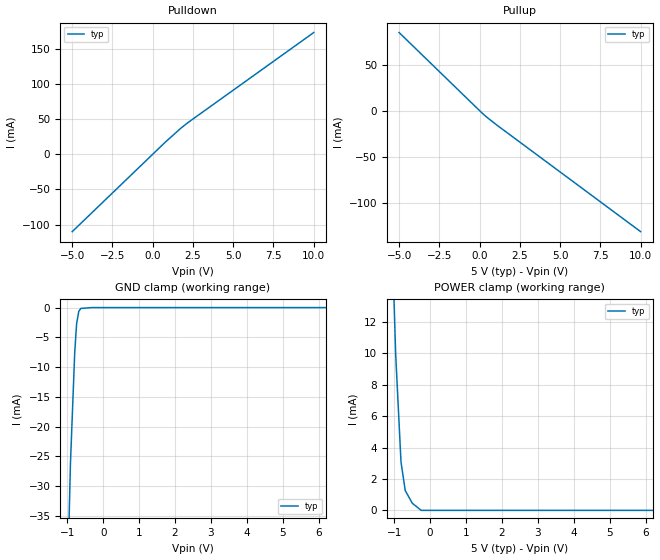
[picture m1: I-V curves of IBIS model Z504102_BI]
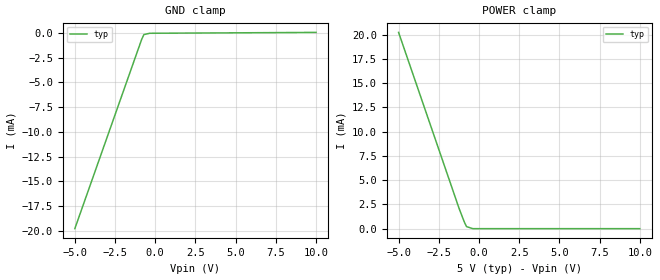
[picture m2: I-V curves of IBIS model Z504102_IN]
| YOU ARE ONLY AUTHORIZED TO USE THIS SOFTWARE
| ACCORDING TO LICENSOR'S LICENSE RESTRICTIONS.
[IBIS Ver] 3.1
[File Name] mc54hc4066j.ibs
[File Rev] 2.0
[Source] Measured and created by ICX Technology
[Date] Friday 7/14/00 9:08:07 AM
[Copyright]
| (C) COPYRIGHT 1993-2000
| MENTOR GRAPHICS CORPORATION
| ICX STANDARD LIBRARY, ICX PROJECT MODELING,
| ICX CUSTOM MODELING, ICX VENDOR MODEL
| ALL RIGHTS RESERVED.
| THE FOLLOWING ARE TRADEMARKS OR SERVICE MARKS OF
| MENTOR GRAPHICS CORPORATION:ICX (R), ICX STANDARD
| LIBRARY(R), ICX PROJECT MODELING(R), ICX CUSTOM
| MODELING(R), qualityIBIS(TM), MODELVIEWER(TM),
| AND MODELEDITOR(TM)
| ALL COPIES OF SOFTWARE, INCLUDING BUT NOT LIMITED TO
| ANY MODIFICATIONS, ENHANCEMENTS OR DERIVATIVE WORKS,
| MUST CONTAIN ALL MENTOR GRAPHICS CORPORATION'S
| NOTICES AND LEGENDS, INCLUDING THOSE EMBEDDED IN
| SOFTWARE AND THOSE AFFIXED TO SOFTWARE MEDIUM
| AND CONTAINER, AS RECEIVED FROM MENTOR GRAPHICS
| CORPORATION.
|  ZAP Model Builder 2.7
[Component] MC54HC4066J
[Manufacturer] OnSemiconductor
[Package]
| variable   typ   min   max
R_pkg  .21ohms NA NA
L_pkg  4.543nH NA NA
C_pkg  1.059pF NA NA
[Pin] signal_name  model_name  R_pin  L_pin C_pin
1 A Z504102_BI .22 6.757n 1.432p
2 B Z504102_BI .212 4.757n 1.142p
3 B Z504102_BI .204 3.257n .852p
4 A Z504102_BI .196 2.257n .562p
5 C Z504102_IN .204 3.257n .852p
6 C Z504102_IN .212 4.757n 1.142p
7 GROUND GND .22 6.757n 1.432p
8 A Z504102_BI .22 6.757n 1.432p
9 B Z504102_BI .212 4.757n 1.142p
10 B Z504102_BI .204 3.257n .852p
11 A Z504102_BI .196 2.257n .562p
12 C Z504102_IN .204 3.257n .852p
13 C Z504102_IN .212 4.757n 1.142p
14 VCC POWER .22 6.757n 1.432p
| Models and submodels in the file (2): Z504102_BI (I/O), Z504102_IN (Input)
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| (C) COPYRIGHT 1993-2000
| MENTOR GRAPHICS CORPORATION
| ICX STANDARD LIBRARY, ICX PROJECT MODELING,
| ICX CUSTOM MODELING, ICX VENDOR MODEL
| ALL RIGHTS RESERVED.
| THE FOLLOWING ARE TRADEMARKS OR SERVICE MARKS OF
| MENTOR GRAPHICS CORPORATION:ICX (R), ICX STANDARD
| LIBRARY(R), ICX PROJECT MODELING(R), ICX CUSTOM
| MODELING(R), qualityIBIS(TM), MODELVIEWER(TM),
| AND MODELEDITOR(TM)
| ALL COPIES OF SOFTWARE, INCLUDING BUT NOT LIMITED TO
| ANY MODIFICATIONS, ENHANCEMENTS OR DERIVATIVE WORKS,
| MUST CONTAIN ALL MENTOR GRAPHICS CORPORATION'S
| NOTICES AND LEGENDS, INCLUDING THOSE EMBEDDED IN
| SOFTWARE AND THOSE AFFIXED TO SOFTWARE MEDIUM
| AND CONTAINER, AS RECEIVED FROM MENTOR GRAPHICS
| CORPORATION.
| Model Application Version 1.89 2/18/99.
[Model] Z504102_BI
Model_type I/O
Vinl=1.000V
Vinh=3.500V
Vref=0.000V
Rref=500.0Mohms
Cref=50.00pF
Vmeas=2.500V
C_comp 8.000pF NA NA
| variable typ   min   max
[Voltage Range] 5.000V NA NA
[POWER Clamp Reference] 5.000V NA NA
[Pullup Reference] 5.000V NA NA
[Pulldown Reference] 0.000V NA NA
[GND Clamp Reference] 0.000V NA NA
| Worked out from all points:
|   slope of the pulldown table from 0 to 0.75 V, typ, clamps not added: 45.4 ohm
|   slope of the pullup table from 0 to 0.75 V, typ, clamps not added: 66.6 ohm
|   GND clamp passes 1 mA (typ) near -0.69 V on its own axis
|   POWER clamp passes 1 mA (typ) near -0.63 V on its own axis
[GND Clamp]
-5V       -1.03A     NA         NA
-913.2mV  -26.19mA   NA         NA
-794.4mV  -7.588mA   NA         NA
-742.1mV  -2.74mA    NA         NA
-681.2mV  -632.4uA   NA         NA
-624.4mV  -143.9uA   NA         NA
-312.2mV  0A         NA         NA
10V       0A         NA         NA
[Pulldown]
-5V       -110mA     NA         NA
806.8mV   17.95mA    NA         NA
1.748V    37.25mA    NA         NA
2.162V    44.81mA    NA         NA
10V       173.4mA    NA         NA
[Pullup]
-5V       84.83mA    NA         NA
152mV     -2.674mA   NA         NA
429mV     -6.932mA   NA         NA
1.06V     -15.62mA   NA         NA
10V       -131.6mA   NA         NA
[POWER Clamp]
-5V       365.4mA    NA         NA
-1.201V   27.91mA    NA         NA
-959mV    9.934mA    NA         NA
-811mV    3.087mA    NA         NA
-693mV    1.262mA    NA         NA
-497mV    455.7uA    NA         NA
-248.5mV  0A         NA         NA
10V       0A         NA         NA
[Ramp]
| variable typ min max
dV/dt_r 2.663/5.224n NA NA
dV/dt_f 2.663/5.976n NA NA
R_load = 500.0Ohms
| (C) COPYRIGHT 1993-2000
| MENTOR GRAPHICS CORPORATION
| ICX STANDARD LIBRARY, ICX PROJECT MODELING,
| ICX CUSTOM MODELING, ICX VENDOR MODEL
| ALL RIGHTS RESERVED.
| THE FOLLOWING ARE TRADEMARKS OR SERVICE MARKS OF
| MENTOR GRAPHICS CORPORATION:ICX (R), ICX STANDARD
| LIBRARY(R), ICX PROJECT MODELING(R), ICX CUSTOM
| MODELING(R), qualityIBIS(TM), MODELVIEWER(TM),
| AND MODELEDITOR(TM)
| ALL COPIES OF SOFTWARE, INCLUDING BUT NOT LIMITED TO
| ANY MODIFICATIONS, ENHANCEMENTS OR DERIVATIVE WORKS,
| MUST CONTAIN ALL MENTOR GRAPHICS CORPORATION'S
| NOTICES AND LEGENDS, INCLUDING THOSE EMBEDDED IN
| SOFTWARE AND THOSE AFFIXED TO SOFTWARE MEDIUM
| AND CONTAINER, AS RECEIVED FROM MENTOR GRAPHICS
| CORPORATION.
| Model Application Version 1.89 2/18/99.
[Model] Z504102_IN
Model_type Input
Vinl = 1.000V
Vinh = 3.500V
C_comp 4.000pF NA NA
| variable typ   min   max
[Voltage Range] 5.000V NA NA
[GND Clamp Reference] 0.000V NA NA
[POWER Clamp Reference] 5.000V NA NA
[GND Clamp]
-5V       -19.79mA   NA         NA
-844mV    -641.5uA   NA         NA
-706.2mV  -156.7uA   NA         NA
-353.1mV  -21.38uA   NA         NA
10V       67.77uA    NA         NA
[POWER Clamp]
-5V       20.22mA    NA         NA
-1.239V   2.092mA    NA         NA
-909mV    672.1uA    NA         NA
-772mV    211.1uA    NA         NA
-386mV    0A         NA         NA
10V       0A         NA         NA
